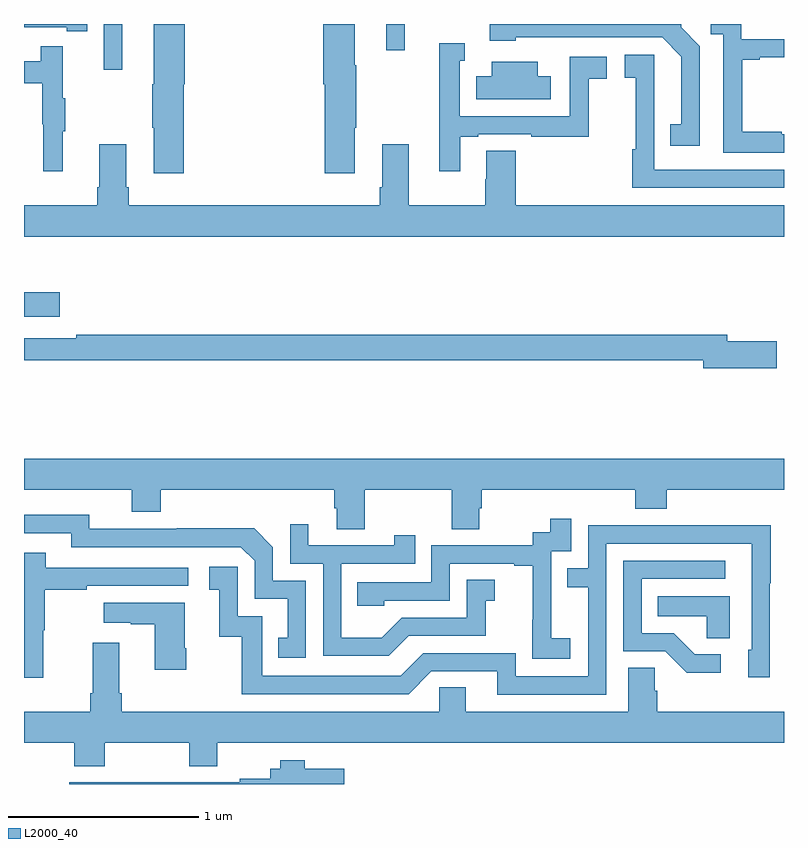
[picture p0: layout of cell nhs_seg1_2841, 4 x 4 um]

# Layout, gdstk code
import gdstk
lib = gdstk.Library(unit=1e-6, precision=1e-09)
def R(c, l, rs):  # rectangles x0, y0, x1, y1
    for r in rs: c.add(gdstk.rectangle(r[:2], r[2:], *l))
def P(c, l, *ps):  # polygons
    for p in ps: c.add(gdstk.Polygon(p, *l))
L2000_40 = (2000, 40)

nhs_seg1_2841 = lib.new_cell('nhs_seg1_2841')
R(nhs_seg1_2841, L2000_40, [(265,536.657,265.189,536.787), (265.419,537.957,265.516,538.199), (266.906,538.062,267.003,538.199)])
P(nhs_seg1_2841, L2000_40, [(265.841,537.882),(265.846,537.882),(265.846,538.199),(265.682,538.199),(265.682,537.882),(265.675,537.882),(265.675,537.652),(265.682,537.652),(265.682,537.414),(265.841,537.414)],
  [(265.334,538.199),(265,538.199),(265,538.182),(265.226,538.182),(265.226,538.162),(265.334,538.162)],
  [(268.557,538.082),(268.458,538.181),(268.458,538.199),(267.452,538.199),(267.452,538.112),(267.588,538.112),(267.588,538.128),(268.359,538.128),(268.46,538.027),(268.46,537.671),(268.402,537.671),(268.402,537.558),(268.557,537.558)],
  [(269,537.619),(268.988,537.619),(268.988,537.631),(268.781,537.631),(268.781,538.011),(268.873,538.011),(268.873,538.023),(269,538.023),(269,538.119),(268.776,538.119),(268.776,538.199),(268.615,538.199),(268.615,538.145),(268.68,538.145),(268.68,537.522),(269,537.522)],
  [(266.74,537.652),(266.748,537.652),(266.748,537.982),(266.74,537.982),(266.74,538.199),(266.576,538.199),(266.576,537.882),(266.582,537.882),(266.582,537.414),(266.74,537.414)],
  [(267.295,537.606),(267.391,537.606),(267.391,537.618),(267.67,537.618),(267.67,537.606),(267.972,537.606),(267.972,537.91),(268.066,537.91),(268.066,538.026),(267.873,538.026),(267.873,537.714),(267.294,537.714),(267.294,538.005),(267.319,538.005),(267.319,538.099),(267.186,538.099),(267.186,537.667),(267.185,537.667),(267.185,537.423),(267.295,537.423)],
  [(265.205,537.635),(265.216,537.635),(265.216,537.809),(265.205,537.809),(265.205,538.081),(265.087,538.081),(265.087,538.002),(265,538.002),(265,537.886),(265.095,537.886),(265.095,537.672),(265.102,537.672),(265.102,537.423),(265.205,537.423)],
  [(269,537.432),(268.317,537.432),(268.317,537.76),(268.318,537.76),(268.318,538.036),(268.161,538.036),(268.161,537.915),(268.219,537.915),(268.219,537.539),(268.201,537.539),(268.201,537.336),(269,537.336)],
  [(267.772,537.925),(267.703,537.925),(267.703,538),(267.461,538),(267.461,537.925),(267.379,537.925),(267.379,537.803),(267.772,537.803)],
  [(269,537.244),(267.587,537.244),(267.587,537.533),(267.434,537.533),(267.434,537.383),(267.427,537.383),(267.427,537.244),(267.025,537.244),(267.025,537.565),(266.885,537.565),(266.885,537.34),(266.873,537.34),(266.873,537.244),(265.55,537.244),(265.55,537.34),(265.537,537.34),(265.537,537.565),(265.397,537.565),(265.397,537.34),(265.385,537.34),(265.385,537.244),(265,537.244),(265,537.08),(269,537.08)],
  [(268.963,536.528),(268.702,536.528),(268.702,536.564),(265.276,536.564),(265.276,536.544),(265,536.544),(265,536.428),(268.574,536.428),(268.574,536.386),(268.963,536.386)],
  [(266.793,535.748),(267.25,535.748),(267.25,535.54),(267.397,535.54),(267.397,535.65),(267.41,535.65),(267.41,535.748),(268.217,535.748),(268.217,535.649),(268.382,535.649),(268.382,535.748),(269,535.748),(269,535.912),(265,535.912),(265,535.748),(265.568,535.748),(265.568,535.631),(265.721,535.631),(265.721,535.748),(266.633,535.748),(266.633,535.65),(266.645,535.65),(266.645,535.54),(266.793,535.54)],
  [(266.484,535.269),(266.31,535.269),(266.31,535.446),(266.212,535.544),(265.804,535.544),(265.804,535.542),(265.344,535.542),(265.344,535.615),(265,535.615),(265,535.518),(265.248,535.518),(265.248,535.446),(266.142,535.446),(266.214,535.374),(266.214,535.173),(266.387,535.173),(266.387,534.969),(266.338,534.969),(266.338,534.864),(266.484,534.864)],
  [(267.874,534.967),(267.776,534.967),(267.776,535.196),(267.774,535.196),(267.774,535.425),(267.879,535.425),(267.879,535.594),(267.771,535.594),(267.771,535.524),(267.678,535.524),(267.678,535.455),(267.144,535.455),(267.144,535.26),(266.755,535.26),(266.755,535.137),(266.895,535.137),(266.895,535.164),(267.24,535.164),(267.24,535.359),(267.581,535.359),(267.581,535.347),(267.677,535.347),(267.677,535.063),(267.676,535.063),(267.676,534.857),(267.874,534.857)],
  [(267.025,534.978),(267.429,534.978),(267.429,535.163),(267.478,535.163),(267.478,535.273),(267.33,535.273),(267.33,535.074),(266.988,535.074),(266.884,534.97),(266.67,534.97),(266.67,535.359),(267.059,535.359),(267.059,535.507),(266.948,535.507),(266.948,535.455),(266.497,535.455),(266.497,535.567),(266.4,535.567),(266.4,535.359),(266.574,535.359),(266.574,534.873),(266.92,534.873)],
  [(268.065,535.464),(268.83,535.464),(268.83,534.906),(268.811,534.906),(268.811,534.762),(268.926,534.762),(268.926,535.255),(268.929,535.255),(268.929,535.562),(268.465,535.562),(268.465,535.56),(267.969,535.56),(267.969,535.335),(267.859,535.335),(267.859,535.234),(267.969,535.234),(267.969,534.765),(267.588,534.765),(267.588,534.888),(267.102,534.888),(266.982,534.768),(266.253,534.768),(266.253,535.083),(266.124,535.083),(266.124,535.342),(265.974,535.342),(265.974,535.221),(266.027,535.221),(266.027,534.975),(266.145,534.975),(266.145,534.672),(267.024,534.672),(267.144,534.792),(267.491,534.792),(267.491,534.669),(268.065,534.669)],
  [(265.1,535.008),(265.108,535.008),(265.108,535.222),(265.331,535.222),(265.331,535.242),(265.864,535.242),(265.864,535.338),(265.115,535.338),(265.115,535.417),(265,535.417),(265,534.759),(265.1,534.759)],
  [(268.666,534.882),(268.531,534.882),(268.42,534.993),(268.251,534.993),(268.251,535.278),(268.69,535.278),(268.69,535.374),(268.155,535.374),(268.155,534.897),(268.374,534.897),(268.487,534.785),(268.666,534.785)],
  [(268.714,535.186),(268.336,535.186),(268.336,535.082),(268.593,535.082),(268.593,534.967),(268.714,534.967)],
  [(265.854,534.913),(265.846,534.913),(265.846,535.153),(265.419,535.153),(265.419,535.049),(265.562,535.049),(265.562,535.039),(265.688,535.039),(265.688,534.801),(265.854,534.801)],
  [(265.425,534.416),(265.87,534.416),(265.87,534.292),(266.017,534.292),(266.017,534.416),(269,534.416),(269,534.58),(268.334,534.58),(268.334,534.689),(268.32,534.689),(268.32,534.812),(268.181,534.812),(268.181,534.58),(267.325,534.58),(267.325,534.707),(267.186,534.707),(267.186,534.58),(265.514,534.58),(265.514,534.676),(265.501,534.676),(265.501,534.943),(265.361,534.943),(265.361,534.676),(265.349,534.676),(265.349,534.58),(265,534.58),(265,534.416),(265.265,534.416),(265.265,534.292),(265.425,534.292)],
  [(266.686,534.28),(266.477,534.28),(266.477,534.325),(266.349,534.325),(266.349,534.28),(266.297,534.28),(266.297,534.226),(266.136,534.226),(266.136,534.207),(265.719,534.207),(265.719,534.209),(265.487,534.209),(265.487,534.207),(265.237,534.207),(265.237,534.199),(266.686,534.199)])

lib.write_gds('nhs_seg1_2841.gds')
